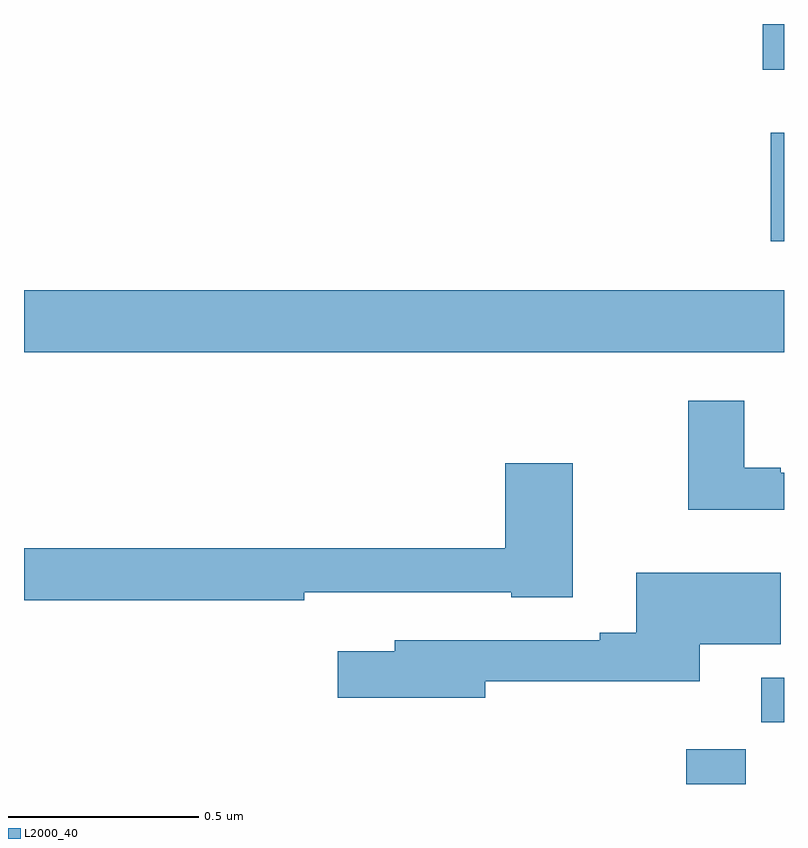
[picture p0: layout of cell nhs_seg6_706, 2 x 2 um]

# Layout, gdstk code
import gdstk
lib = gdstk.Library(unit=1e-6, precision=1e-09)
def R(c, l, rs):  # rectangles x0, y0, x1, y1
    for r in rs: c.add(gdstk.rectangle(r[:2], r[2:], *l))
def P(c, l, *ps):  # polygons
    for p in ps: c.add(gdstk.Polygon(p, *l))
L2000_40 = (2000, 40)

nhs_seg6_706 = lib.new_cell('nhs_seg6_706')
R(nhs_seg6_706, L2000_40, [(120.743,979.5,120.899,979.592), (120.94,979.662,121,979.78), (119,980.636,121,980.8), (120.965,980.928,121,981.214), (120.944,981.38,121,981.5)])
P(nhs_seg6_706, L2000_40, [(121,980.319),(120.991,980.319),(120.991,980.332),(120.895,980.332),(120.895,980.509),(120.748,980.509),(120.748,980.222),(121,980.222)],
  [(119.738,980.004),(120.282,980.004),(120.282,979.991),(120.444,979.991),(120.444,980.344),(120.266,980.344),(120.266,980.12),(119,980.12),(119,979.984),(119.738,979.984)],
  [(120.214,979.77),(120.778,979.77),(120.778,979.868),(120.991,979.868),(120.991,980.056),(120.611,980.056),(120.611,979.898),(120.515,979.898),(120.515,979.878),(119.975,979.878),(119.975,979.849),(119.826,979.849),(119.826,979.727),(120.214,979.727)])

lib.write_gds('nhs_seg6_706.gds')
